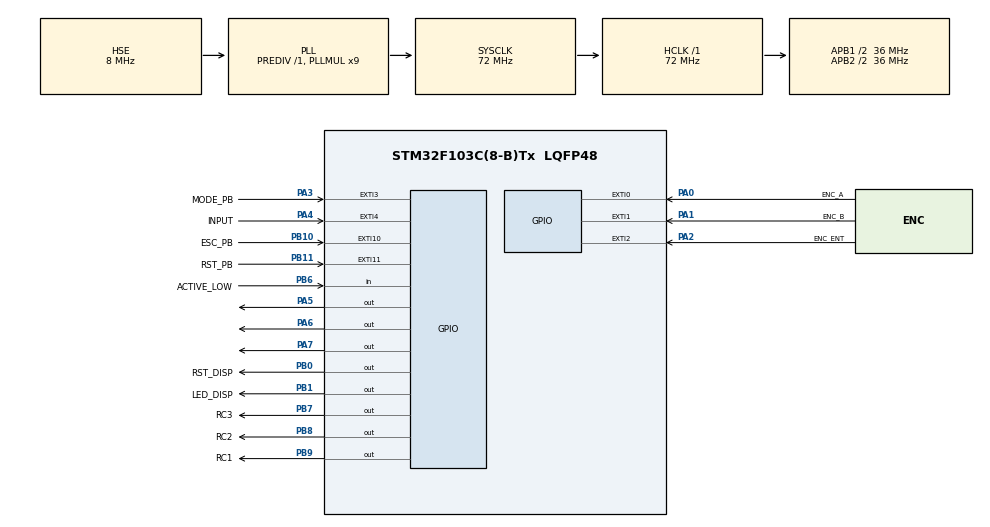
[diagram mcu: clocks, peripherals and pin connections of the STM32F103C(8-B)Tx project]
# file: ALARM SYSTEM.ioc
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Mcu.Family=STM32F1
Mcu.Name=STM32F103C(8-B)Tx
Mcu.Package=LQFP48
NVIC.EXTI0_IRQn=true\:0\:0\:false\:false\:true\:true\:true\:true
NVIC.EXTI15_10_IRQn=true\:0\:0\:false\:false\:true\:true\:true\:true
NVIC.EXTI1_IRQn=true\:0\:0\:false\:false\:true\:true\:true\:true
NVIC.EXTI2_IRQn=true\:0\:0\:false\:false\:true\:true\:true\:true
NVIC.EXTI3_IRQn=true\:0\:0\:false\:false\:true\:true\:true\:true
NVIC.EXTI4_IRQn=true\:0\:0\:false\:false\:true\:true\:true\:true
NVIC.PriorityGroup=NVIC_PRIORITYGROUP_4
NVIC.TIM3_IRQn=true\:0\:0\:false\:false\:true\:true\:true\:true
PA0-WKUP.GPIO_Label=ENC_A
PA0-WKUP.GPIO_ModeDefaultEXTI=GPIO_MODE_IT_RISING_FALLING
PA0-WKUP.GPIO_PuPd=GPIO_PULLUP
PA0-WKUP.Signal=GPXTI0
PA1.GPIO_Label=ENC_B
PA1.GPIO_ModeDefaultEXTI=GPIO_MODE_IT_RISING_FALLING
PA1.GPIO_PuPd=GPIO_PULLUP
PA1.Signal=GPXTI1
PA13.Mode=Serial_Wire
PA13.Signal=SYS_JTMS-SWDIO
PA14.Mode=Serial_Wire
PA14.Signal=SYS_JTCK-SWCLK
PA2.GPIO_Label=ENC_ENT
PA2.GPIO_PuPd=GPIO_PULLUP
PA2.Signal=GPXTI2
PA3.GPIO_Label=MODE_PB
PA3.GPIO_PuPd=GPIO_PULLUP
PA3.Signal=GPXTI3
PA4.GPIO_Label=INPUT
PA4.GPIO_ModeDefaultEXTI=GPIO_MODE_IT_RISING
PA4.GPIO_PuPd=GPIO_PULLDOWN
PA4.Signal=GPXTI4
PA5.Signal=GPIO_Output
PA6.Signal=GPIO_Output
PA7.Signal=GPIO_Output
PB0.GPIO_Label=RST_DISP
PB0.PinState=GPIO_PIN_SET
PB0.Signal=GPIO_Output
PB1.GPIO_Label=LED_DISP
PB1.Signal=GPIO_Output
PB10.GPIO_Label=ESC_PB
PB10.GPIO_PuPd=GPIO_PULLUP
PB10.Signal=GPXTI10
PB11.GPIO_Label=RST_PB
PB11.GPIO_PuPd=GPIO_PULLUP
PB11.Signal=GPXTI11
PB6.GPIO_Label=ACTIVE_LOW
PB6.GPIO_PuPd=GPIO_PULLUP
PB6.Signal=GPIO_Input
PB7.GPIO_Label=RC3
PB7.Signal=GPIO_Output
PB8.GPIO_Label=RC2
PB8.Signal=GPIO_Output
PB9.GPIO_Label=RC1
PB9.Signal=GPIO_Output
PD0-OSC_IN.Mode=HSE-External-Oscillator
PD0-OSC_IN.Signal=RCC_OSC_IN
PD1-OSC_OUT.Mode=HSE-External-Oscillator
PD1-OSC_OUT.Signal=RCC_OSC_OUT
ProjectManager.HeapSize=0x200
ProjectManager.StackSize=0x400
ProjectManager.TargetToolchain=STM32CubeIDE
RCC.ADCPresc=RCC_ADCPCLK2_DIV8
RCC.AHBFreq_Value=72000000
RCC.APB1CLKDivider=RCC_HCLK_DIV2
RCC.APB1Freq_Value=36000000
RCC.APB1TimFreq_Value=72000000
RCC.APB2CLKDivider=RCC_HCLK_DIV2
RCC.APB2Freq_Value=36000000
RCC.APB2TimFreq_Value=72000000
RCC.HCLKFreq_Value=72000000
RCC.PLLMUL=RCC_PLL_MUL9
RCC.PLLSourceVirtual=RCC_PLLSOURCE_HSE
RCC.SYSCLKFreq_VALUE=72000000
RCC.SYSCLKSource=RCC_SYSCLKSOURCE_PLLCLK
RCC.USBFreq_Value=72000000
TIM2.Period=65535-1
TIM2.Prescaler=72-1
TIM3.Period=1000-1
TIM3.Prescaler=72-1
VP_IWDG_VS_IWDG.Mode=IWDG_Activate
VP_TIM2_VS_ClockSourceINT.Mode=Internal
VP_TIM3_VS_ClockSourceINT.Mode=Internal
board=custom

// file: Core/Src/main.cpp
/* USER CODE BEGIN Header */
/**
 ******************************************************************************
 * @file           : main.c
 * @brief          : Main program bodyp
 ******************************************************************************
 * @attention
 *
 * Copyright (c) 2024 STMicroelectronics.
 * All rights reserved.
 *
 * This software is licensed under terms that can be found in the LICENSE file
 * in the root directory of this software component.
 * If no LICENSE file comes with this software, it is provided AS-IS.
 *
 ******************************************************************************
 */
/* USER CODE END Header */
#include "main.h"
#include "iwdg.h"
#include "tim.h"
#include "gpio.h"

/* USER CODE BEGIN Includes */
#include "BACOMMON.h"
#include "BAENCODER.h"
#include "delay.h"
#include "ST7920_SERIAL.h"
#include "BA_bitmap.h"
#include "DataMapping.h"
#include "flash.h"

/* USER CODE END Includes */

/* USER CODE BEGIN PTD */
typedef enum eMainMode {
	MAIN_HOME = 0,
	MAIN_MENU,
	MAIN_PARAMETERS

} Ts_MainMode;

typedef enum eStateMode {
	STATE_RUN=0,
	STATE_ALARM,
	STATE_WAIT

} Ts_StateMode;

typedef enum eKeyPress {
	KEY_NONE = 0,
	KEY_RESET,
	KEY_MODE,
	KEY_ESC,
	KEY_ENT

} Ts_KeyPress;

typedef enum DataIndex {
	F_STATE = 0,
	F_TDETECT,
	F_TWAIT

}Ts_FlashDataIndex;

/* USER CODE END PTD */

/* USER CODE BEGIN PD */
#define LCD_PRESET_TIME  120000 //2min
/* USER CODE END PD */

/* USER CODE BEGIN PV */
BA_ENCODER oJog;
//Parameter detectTime;
//Parameter waitTime;
Parameter parameter[2];
uint8_t detected = 0;

Ts_KeyPress KeyPress_t = KEY_NONE;
Ts_StateMode StateMode_t = STATE_RUN;
Ts_MainMode MainMode_t = MAIN_HOME;

Parameter *currentParameter;
const char d[] = {'0','1','2','3','4','5','6','7','8','9'};
uint8_t init_run = 0;
uint8_t init_alarm = 0;
uint8_t init_wait = 0;
char remainingTime[9] = {'0','0',':','0','9',':','5','9','\0'};
volatile uint32_t remainingTimeValue =0;
uint32_t initialTimeValue =0;

volatile uint8_t light_Display = 0;
volatile uint8_t light_Display_on = 0;

static volatile uint32_t holdCurrenTimeCount = 0;

volatile uint32_t state_Machine_previousTime = 0;
uint32_t state_Machine_presetTime = 0;

uint32_t LCD_previousTime = 0;
uint32_t update_previousTime = 0;

uint8_t setting_animation = 0;
uint8_t home_animation = 0;
uint8_t save = 0;
uint32_t holdParameterValue = 0;
uint8_t clear_screen = 0;

uint32_t toFlashData[3]={0};
uint16_t address_offset_toFlashData[3]= {0,4,8}; // eg x08000000 + address_offset_toFlashData[0];
/* USER CODE END PV */

void SystemClock_Config(void);
/* USER CODE BEGIN PFP */
void Paramertes_Init(void);
void DisplayManagement(void);
void StateMachine(void);
void Encoder_Init(void);

void RUN(void);
void ALARM(void);
void WAIT(void);

void detect(void);
void reinitVariables(void);
void checkActivateScreen(void);

inline uint32_t currentTime(void);

void logoAnimation(void);

void drawHomePage(uint8_t state,  int percent);
void drawSettingsPage(uint8_t state);
void drawParameterPage(void);

void progressBar(int x, int y, int h, int percentage){
	int l = 50;
	char p[5];
	DrawRectangle(x, y, l, h);
	DrawFilledRectangle(x, y, (l*percentage)/100, h);
	ST7920_SendString(x/16, l/8 + 1, p);
}

/* USER CODE END PFP */

/* USER CODE BEGIN 0 */
void Paramertes_Init(void){

	//if memory is zero, Load
	//else init
	parameter[0].code = "Tdtct";
	parameter[0].max = 7200;//2h min
	parameter[0].min = 10;
	parameter[0].rendering = 1;
	parameter[0].stepIncrease = 10;
	parameter[0].unit = "sec";
	parameter[0].value_milli = 60;

	parameter[1].code = "Twait";
	parameter[1].max = 7200;
	parameter[1].min = 10;
	parameter[1].rendering = 1;
	parameter[1].stepIncrease = 10;
	parameter[1].unit = "sec";
	parameter[1].value_milli = 60;

	currentParameter = &parameter[0];
}
void DisplayManagement(){

	//main screen
	//Menu display
	//parametere display
	if(clear_screen){

		ST7920_Init();
		ST7920_Clear();

		clear_screen = 0;
	}

	int  ptage =0;

	if(initialTimeValue >0)
		ptage = remainingTimeValue*100/initialTimeValue;

	//split time
	int hh = (remainingTimeValue/3600);
	int mm = (remainingTimeValue%3600)/60;

	int ss = (remainingTimeValue%3600)%60;

	remainingTime[0] =d[hh/10];
	remainingTime[1] =d[hh%10];
	remainingTime[2] =':';
	remainingTime[3] =d[mm/10];
	remainingTime[4] =d[mm%10];
	remainingTime[5] =':';
	remainingTime[6] =d[ss/10];
	remainingTime[7] =d[ss%10];
	remainingTime[8] ='\0';

	switch (MainMode_t) {
	case MAIN_HOME:
		home_animation = (uint8_t)StateMode_t;
		drawHomePage(home_animation,  ptage);
		break;
	case MAIN_MENU:
		setting_animation = oJog.getCurrentEncoderValue();
		drawSettingsPage(setting_animation);
		break;

	case MAIN_PARAMETERS:
		holdParameterValue = oJog.getCurrentEncoderValue();
		if(holdParameterValue<currentParameter->min){
			holdParameterValue = currentParameter->min;
		}
		drawParameterPage();
		break;
	}

}
void StateMachine(){
	//
	switch(StateMode_t){

	break;
	case STATE_RUN:
		RUN();
		break;
	case STATE_ALARM:
		ALARM();
		break;
	case STATE_WAIT:
		WAIT();
		break;

	}
}

void RUN(void){
	//ON the green LED
	if(!init_run){
		// light green lamp only when there is detection
		reinitVariables();

		//state_Machine_presetTime = parameter[0].value_milli*1000;
		state_Machine_previousTime = currentTime();
		initialTimeValue =  parameter[0].value_milli;
		remainingTimeValue = initialTimeValue;
		init_run = 1;

		toFlashData[F_STATE] = 0;
		save = 1;

	}
	else{

		if(!remainingTimeValue ){

			//pass to other state
			StateMode_t = STATE_ALARM;

			reinitVariables();
		}
	}

}
void ALARM(void){
	if(!init_alarm){

		reinitVariables();
		remainingTimeValue = 0;
		init_alarm = 1;
		HAL_GPIO_WritePin(RC2_GPIO_Port, RC2_Pin, GPIO_PIN_SET);
		HAL_GPIO_WritePin(RC3_GPIO_Port, RC3_Pin, GPIO_PIN_SET);
		state_Machine_previousTime = currentTime();
		toFlashData[F_STATE] = 1;
		save = 1;
	}
	/*else{
		// blink RC2
		if((currentTime() - state_Machine_previousTime) >= 1000){
			HAL_GPIO_TogglePin(RC2_GPIO_Port, RC2_Pin);
			state_Machine_previousTime = currentTime();
		}
	}*/

}
void WAIT(void){

	if(!init_wait){
		reinitVariables();

		//HAL_GPIO_WritePin(RC2_GPIO_Port, RC2_Pin, GPIO_PIN_SET);
		//state_Machine_presetTime = parameter[1].value_milli*1000;
		initialTimeValue =  parameter[1].value_milli;
		remainingTimeValue = initialTimeValue;
		init_wait = 1;

		toFlashData[F_STATE] = 2;
		save = 1;

		state_Machine_previousTime = currentTime();
	}else{

		if(!remainingTimeValue ){

			//pass to other state
			StateMode_t = STATE_RUN;

			reinitVariables();
		}
	}

}

void detect(){
	// a detection of input will take any othe state to the runing state and reinitilize all times

	if(detected){

		reinitVariables();

		HAL_GPIO_WritePin(RC1_GPIO_Port, RC1_Pin, GPIO_PIN_SET);
		StateMode_t = STATE_RUN;
		detected = 0;
	}
}
void reinitVariables(){
	HAL_GPIO_WritePin(RC1_GPIO_Port, RC1_Pin, GPIO_PIN_RESET);
	HAL_GPIO_WritePin(RC2_GPIO_Port, RC2_Pin, GPIO_PIN_RESET);
	HAL_GPIO_WritePin(RC3_GPIO_Port, RC3_Pin, GPIO_PIN_RESET);

	init_run = 0;
	init_alarm = 0;
	init_wait = 0;

	state_Machine_previousTime = currentTime();

}
void checkActivateScreen(){

	if(light_Display){
		HAL_GPIO_WritePin(LED_DISP_GPIO_Port, LED_DISP_Pin, GPIO_PIN_SET);
		LCD_previousTime = currentTime();
		light_Display = 0;
		light_Display_on = 1;
	}
	if(  (currentTime() - LCD_previousTime) >= LCD_PRESET_TIME ){
		HAL_GPIO_WritePin(LED_DISP_GPIO_Port, LED_DISP_Pin, GPIO_PIN_RESET);
		light_Display_on = 0;
	}
}

inline uint32_t currentTime(){
	return holdCurrenTimeCount;
}

void logoAnimation(){
	delay_init();

	ST7920_Init();

	ST7920_GraphicMode(1);
	ST7920_DrawBitmap(bana_logo);
	HAL_Delay(1000);

	DrawFilledRectangle(0, 0, 128, 64);
	ST7920_Update();
	HAL_Delay(70);
	ST7920_GraphicMode(0);
	ST7920_SendString(1,1, "L'INNOVATION");
	ST7920_SendString(2,0, "N'A PAS DE FREIN");
	ST7920_scroll(3, "www.banaafrica.com", 1, 150);
	HAL_Delay(70);
	ST7920_Clear();
	HAL_Delay(100);
}

void drawHomePage(uint8_t state, int percent){
	// 1- draw backbone

	ST7920_ClearBuffer();
	ST7920_GraphicMode(1);

	//draw low rectangles
	DrawFilledRectangle(0, 48, 40, 15);
	DrawFilledRectangle(44, 48, 40, 15);
	DrawFilledRectangle(87, 48, 40, 15);

	DrawLine(87, 0, 87, 47);// vertical line

	DrawLine(87, 15, 127, 15);// H line 1
	DrawLine(87, 31, 127, 31);// H line 2

	DrawLine(0, 0, 0, 47);// vertical line2
	DrawLine(86, 0, 86, 47);// vertical line3

	DrawLine(0, 0, 127,0);// H line 3
	DrawLine(0, 47, 86, 47);// H line 4

	// 2- make right state

	if (state%3==0){
		DrawFilledRectangle(87, 0, 42, 15);
	}
	else if(state%3 == 1){
		DrawFilledRectangle(87, 16, 42, 15);
	}
	else if(state%3 == 2){
		DrawFilledRectangle(87, 31, 42, 15);
	}

	//progress bar
	progressBar(5, 35, 8, percent);

	ST7920_Update();

	// 3- put text

	ST7920_GraphicMode(0);
	ST7920_SendString(0,0, "Time Left" );//CDT: count Down Time
	//clear
	ST7920_SendString(1,0, "                ");
	ST7920_SendString(1,0, remainingTime);

	ST7920_SendString(0,6, "RUN");
	ST7920_SendString(1,6, "ALRM");
	ST7920_SendString(2,6, "WAIT");

	//give possible actions
	ST7920_SendString(3,0, "MENU");
	ST7920_SendString(3,3, "RST");
	ST7920_SendString(3,6, "ESC");

}
void drawSettingsPage(uint8_t state){
	// 1- draw backbone
	//ST7920_Init();
	//ST7920_Clear();

	ST7920_ClearBuffer();
	ST7920_GraphicMode(1);

	DrawRectangle(0, 0, 127, 63);
	DrawRectangle(0, 0, 127, 14);

	//draw low rectangles
	DrawRectangle(0, 48, 40, 15);
	DrawRectangle(44, 48, 40, 15);
	DrawRectangle(87, 48, 40, 15);

	// 2- make right state
	if(state%2 == 0){
		DrawFilledRectangle(0, 16, 127, 15);
	}
	else if(state%2 == 1){
		DrawFilledRectangle(0, 32, 127, 15);
	}

	ST7920_Update();

	// 3- put text
	ST7920_GraphicMode(0);
	char line1[6];
	char line2[6];
	char line3[5];

	sprintf(line1, "%s", parameter[0].code);
	sprintf(line2, "%s", parameter[1].code);

	sprintf(line3, "%lu", parameter[state%2].value_milli);

	ST7920_SendString(0,2,"SETTINGS");

	//clear lines
	ST7920_SendString(1,0, "                ");
	ST7920_SendString(2,0, "                ");

	ST7920_SendString(1,0, line1);
	ST7920_SendString(2,0, line2);
	ST7920_SendString((state%2 + 1),4, line3);

	//give possible actions
	ST7920_SendString(3,3, "ENT");
	ST7920_SendString(3,6, "ESC");
}
void drawParameterPage(){
	// 1- draw backbone
	// 2- put text

	//1-
	//ST7920_Init();
	//ST7920_Clear();
	ST7920_ClearBuffer();
	ST7920_GraphicMode(1);

	DrawFilledRectangle(0, 0, 127, 15);
	DrawRectangle(0, 0, 127, 63);

	//draw low rectangles
	if(!save){
		DrawFilledRectangle(0, 48, 40, 15);
		DrawFilledRectangle(44, 48, 40, 15);
		DrawFilledRectangle(87, 48, 40, 15);
	}
	else{
		DrawFilledRectangle(0, 48, 127, 15);
	}

	ST7920_Update();

	//2-
	ST7920_GraphicMode(0);

	char line1[6];
	char line2[5];
	char line3[4];

	sprintf(line1, "%s", currentParameter->code);
	sprintf(line2, "%lu", holdParameterValue);
	sprintf(line3, "%s", currentParameter->unit);

	//clear
	ST7920_SendString(1,0, "                ");

	ST7920_SendString(0,3, line1);
	ST7920_SendString(1,0, line2);
	ST7920_SendString(2,0, line3);

	if(!save){
		//give possible actions
		ST7920_SendString(3,3, "ENT");
		ST7920_SendString(3,6, "ESC");
	}
	else{

		ST7920_SendString(3,2, "SAVED");
		HAL_Delay(500);

	}

}

void Encoder_Init(){

	/* Init interface Encoder Begin*/
	oJog.initEncoder(ENC_A_GPIO_Port, ENC_A_Pin, ENC_B_GPIO_Port,ENC_B_Pin);
	oJog.setIncrementStep(30);
	oJog.setMaxEncoderValue(65535);
	oJog.setMinEncoderValue(0);
	oJog.setCurrentEncoderValue(0);
	//oJog.setUserForwardCallback(Jog_ForwardCallback);
	//oJog.setUserBackwardCallback(Jog_BackwardCallback);
}

/* USER CODE END 0 */

int main(void)
{

	/* MCU Configuration--------------------------------------------------------*/

	/* Reset of all peripherals, Initializes the Flash interface and the Systick. */
	HAL_Init();

	/* Configure the system clock */
	SystemClock_Config();

	/* Initialize all configured peripherals */
	MX_GPIO_Init();
	MX_TIM2_Init();
	MX_IWDG_Init();
	MX_TIM3_Init();
	/* USER CODE BEGIN 2 */

	// init variables

	if (HAL_TIM_Base_Start_IT(&htim3) != HAL_OK)
	{
		/* htim2 Generation Error */
		Error_Handler();
	}

	Encoder_Init();
	Paramertes_Init();
	/* this is where i load the saved data from Flash*/
	read_flash_memory(PERSISTENT_DATA_START, toFlashData, 3);
	parameter[0].value_milli = toFlashData[F_TDETECT] ;
	parameter[1].value_milli = toFlashData[F_TWAIT] ;
	/*
	if(parameter[0].value_milli  < parameter[0].min){
		parameter[0].value_milli  = parameter[0].min;
	}
	if(parameter[1].value_milli  < parameter[1].min){
		parameter[1].value_milli  = parameter[1].min;
	}*/
	StateMode_t = (Ts_StateMode)toFlashData[F_STATE] ;

	KeyPress_t = KEY_NONE;

	logoAnimation();

	/* USER CODE END 2 */

	/* Infinite loop */
	while (1)
	{

		/* USER CODE BEGIN 3 */

		//check input sensor
		detect();

		//examin button press
		switch (KeyPress_t) {
		case KEY_RESET:

			if(StateMode_t == STATE_ALARM){
				StateMode_t = STATE_WAIT;
				clear_screen =1;
			}
			else if(StateMode_t == STATE_WAIT){
				StateMode_t = STATE_RUN;
				clear_screen =1;
			}

			reinitVariables();
			KeyPress_t = KEY_NONE;

			break;

		case KEY_MODE:

			if(MainMode_t == MAIN_HOME){
				MainMode_t = MAIN_MENU;

				// jog paramerets for menu scrolling

				oJog.setMaxEncoderValue(255);
				oJog.setMinEncoderValue(setting_animation);
				oJog.setIncrementStep(1);

				clear_screen =1;
			}

			KeyPress_t = KEY_NONE;

			break;
		case KEY_ESC:

			if(MainMode_t == MAIN_PARAMETERS){
				MainMode_t = MAIN_MENU;
				oJog.setMaxEncoderValue(255);
				oJog.setCurrentEncoderValue(setting_animation);
				oJog.setIncrementStep(1);
				// no saving

				clear_screen =1;
			}
			else if(MainMode_t == MAIN_MENU){
				MainMode_t = MAIN_HOME;
				clear_screen =1;
			}

			KeyPress_t = KEY_NONE;
			break;
		case KEY_ENT:

			if(MainMode_t == MAIN_MENU){
				MainMode_t = MAIN_PARAMETERS;

				//set which parameter
				currentParameter = &parameter[setting_animation%2];
				oJog.setMaxEncoderValue(currentParameter->max);
				holdParameterValue = currentParameter->value_milli;
				oJog.setCurrentEncoderValue(holdParameterValue);
				oJog.setIncrementStep(30);

				clear_screen =1;
			}
			else if(MainMode_t == MAIN_PARAMETERS){
				// show it has stored

				save = 1;
				//saving function

				toFlashData[setting_animation%2 + 1] = holdParameterValue;
				currentParameter->value_milli = holdParameterValue;

				clear_screen =1;
			}

			KeyPress_t = KEY_NONE;
			break;
		default:
			break;
		}

		StateMachine();
		DisplayManagement();
		checkActivateScreen(); // activate display lighty

		update_previousTime = currentTime();

		if(save){
			/* This is where data storage is flash is done*/
			write_flash_memory(PERSISTENT_DATA_START, toFlashData, 3);

			save = 0;
			clear_screen =1;
		}

		//HAL_Delay(250);

	}
	/* USER CODE END 3 */
}

void SystemClock_Config(void)
{
	RCC_OscInitTypeDef RCC_OscInitStruct = {0};
	RCC_ClkInitTypeDef RCC_ClkInitStruct = {0};

	/** Initializes the RCC Oscillators according to the specified parameters
	 * in the RCC_OscInitTypeDef structure.
	 */
	RCC_OscInitStruct.OscillatorType = RCC_OSCILLATORTYPE_LSI|RCC_OSCILLATORTYPE_HSE;
	RCC_OscInitStruct.HSEState = RCC_HSE_ON;
	RCC_OscInitStruct.HSEPredivValue = RCC_HSE_PREDIV_DIV1;
	RCC_OscInitStruct.HSIState = RCC_HSI_ON;
	RCC_OscInitStruct.LSIState = RCC_LSI_ON;
	RCC_OscInitStruct.PLL.PLLState = RCC_PLL_ON;
	RCC_OscInitStruct.PLL.PLLSource = RCC_PLLSOURCE_HSE;
	RCC_OscInitStruct.PLL.PLLMUL = RCC_PLL_MUL9;
	if (HAL_RCC_OscConfig(&RCC_OscInitStruct) != HAL_OK)
	{
		Error_Handler();
	}

	/** Initializes the CPU, AHB and APB buses clocks
	 */
	RCC_ClkInitStruct.ClockType = RCC_CLOCKTYPE_HCLK|RCC_CLOCKTYPE_SYSCLK
			|RCC_CLOCKTYPE_PCLK1|RCC_CLOCKTYPE_PCLK2;
	RCC_ClkInitStruct.SYSCLKSource = RCC_SYSCLKSOURCE_PLLCLK;
	RCC_ClkInitStruct.AHBCLKDivider = RCC_SYSCLK_DIV1;
	RCC_ClkInitStruct.APB1CLKDivider = RCC_HCLK_DIV2;
	RCC_ClkInitStruct.APB2CLKDivider = RCC_HCLK_DIV2;

	if (HAL_RCC_ClockConfig(&RCC_ClkInitStruct, FLASH_LATENCY_2) != HAL_OK)
	{
		Error_Handler();
	}
}

/* USER CODE BEGIN 4 */
void HAL_GPIO_EXTI_Callback(uint16_t GPIO_Pin){

	oJog.HandleGPIOEvents(GPIO_Pin);

	// other pins;
	if(GPIO_Pin == ESC_PB_Pin){
		// go out
		//if(!HAL_GPIO_ReadPin(ESC_PB_GPIO_Port, ESC_PB_Pin)){
		if(light_Display_on ){
			KeyPress_t = KEY_ESC;
		}

		light_Display = 1;
		//}
	}
	else if(GPIO_Pin == MODE_PB_Pin){
		//enter menu

		//if(!HAL_GPIO_ReadPin(MODE_PB_GPIO_Port, MODE_PB_Pin)){

		if(light_Display_on ){
			KeyPress_t = KEY_MODE;
		}

		light_Display = 1;
		//}
	}
	else if(GPIO_Pin == RST_PB_Pin){
		// reset states
		//if(!HAL_GPIO_ReadPin(RST_PB_GPIO_Port, RST_PB_Pin)){
		KeyPress_t = KEY_RESET;
		light_Display = 1;
		//}
	}
	else if(GPIO_Pin == ENC_ENT_Pin){
		// validate value
		//if(!HAL_GPIO_ReadPin(ENC_ENT_GPIO_Port, ENC_ENT_Pin)){

		if(light_Display_on ){
			KeyPress_t = KEY_ENT;
		}
		light_Display = 1;
		//}
	}

	if(GPIO_Pin == INPUT_Pin){
		/*if(!HAL_GPIO_ReadPin(ENC_ENT_GPIO_Port, ENC_ENT_Pin)){

		}
		else{

		}*/
		//just a change in state is sufficient to say everything is ok
		detected = 1;
	}

}

void HAL_TIM_PeriodElapsedCallback(TIM_HandleTypeDef *htim){

	if(htim->Instance == TIM3){
		/*
		 * TIMER3 counts at 2000Hz/500 us per count
		 *
		 */
		holdCurrenTimeCount += 1;

		if((currentTime() - state_Machine_previousTime) >= 1000 && remainingTimeValue >0){
			remainingTimeValue -=1;
			state_Machine_previousTime = currentTime();
		}

		HAL_IWDG_Refresh(&hiwdg);// watchdog
	}

}
/* USER CODE END 4 */

void Error_Handler(void)
{
	__disable_irq();
	while (1)
	{
	}
}
